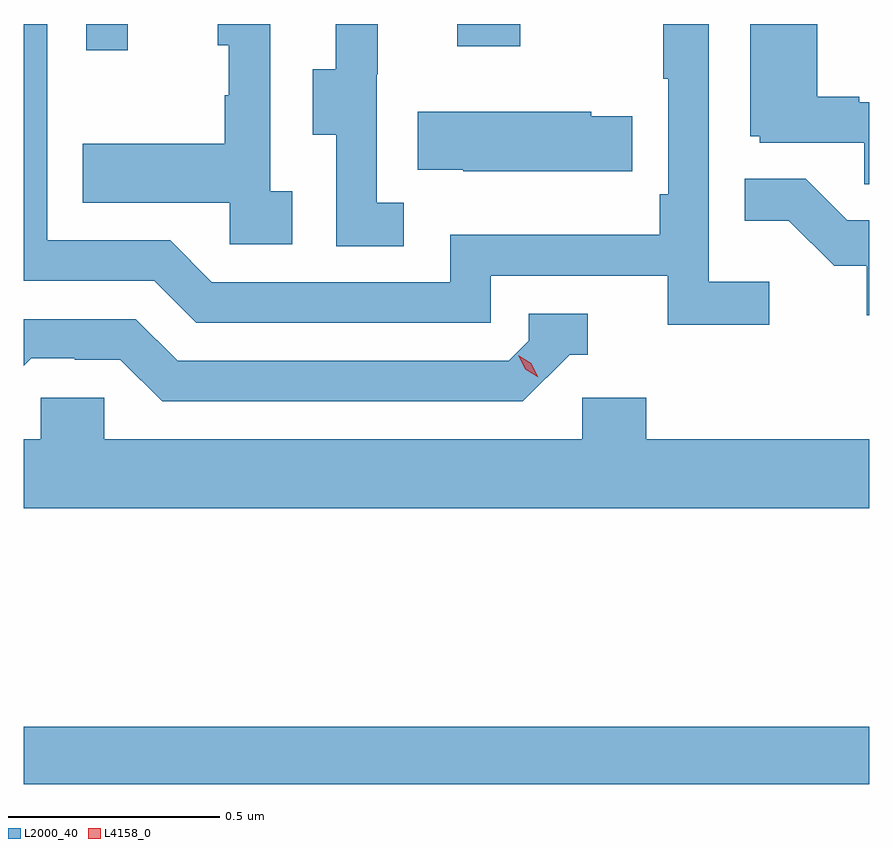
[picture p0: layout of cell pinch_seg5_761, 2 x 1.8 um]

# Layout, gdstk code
import gdstk
lib = gdstk.Library(unit=1e-6, precision=1e-09)
def R(c, l, rs):  # rectangles x0, y0, x1, y1
    for r in rs: c.add(gdstk.rectangle(r[:2], r[2:], *l))
def P(c, l, *ps):  # polygons
    for p in ps: c.add(gdstk.Polygon(p, *l))
L2000_40 = (2000, 40)
L4158_0 = (4158, 0)

pinch_seg5_761 = lib.new_cell('pinch_seg5_761')
R(pinch_seg5_761, L2000_40, [(855.155,894.736,857.155,894.872), (855.303,896.472,855.401,896.534), (856.181,896.481,856.329,896.534)])
P(pinch_seg5_761, L2000_40, [(857.155,896.349),(857.132,896.349),(857.132,896.362),(857.032,896.362),(857.032,896.534),(856.874,896.534),(856.874,896.268),(856.896,896.268),(856.896,896.253),(857.143,896.253),(857.143,896.155),(857.155,896.155)],
  [(856.054,896.111),(855.99,896.111),(855.99,896.415),(855.992,896.415),(855.992,896.534),(855.893,896.534),(855.893,896.427),(855.839,896.427),(855.839,896.272),(855.894,896.272),(855.894,896.008),(856.054,896.008)],
  [(855.79,896.138),(855.738,896.138),(855.738,896.534),(855.614,896.534),(855.614,896.484),(855.64,896.484),(855.64,896.366),(855.63,896.366),(855.63,896.251),(855.295,896.251),(855.295,896.111),(855.642,896.111),(855.642,896.013),(855.79,896.013)],
  [(856.918,895.924),(856.776,895.924),(856.776,896.534),(856.668,896.534),(856.668,896.404),(856.68,896.404),(856.68,896.131),(856.66,896.131),(856.66,896.035),(856.164,896.035),(856.164,895.923),(855.6,895.923),(855.501,896.022),(855.21,896.022),(855.21,896.534),(855.155,896.534),(855.155,895.926),(855.464,895.926),(855.563,895.827),(856.26,895.827),(856.26,895.938),(856.679,895.938),(856.679,895.822),(856.918,895.822)],
  [(856.595,896.316),(856.497,896.316),(856.497,896.326),(856.087,896.326),(856.087,896.189),(856.195,896.189),(856.195,896.186),(856.595,896.186)],
  [(857.155,896.07),(857.103,896.07),(857.005,896.168),(856.861,896.168),(856.861,896.069),(856.965,896.069),(857.072,895.962),(857.149,895.962),(857.149,895.845),(857.155,895.845)],
  [(856.446,895.752),(856.489,895.752),(856.489,895.848),(856.35,895.848),(856.35,895.785),(856.302,895.737),(855.519,895.737),(855.42,895.836),(855.155,895.836),(855.155,895.725),(855.173,895.743),(855.276,895.743),(855.276,895.74),(855.383,895.74),(855.482,895.641),(856.335,895.641)],
  [(857.155,895.552),(856.628,895.552),(856.628,895.65),(856.476,895.65),(856.476,895.552),(855.345,895.552),(855.345,895.65),(855.195,895.65),(855.195,895.552),(855.155,895.552),(855.155,895.388),(857.155,895.388)])
P(pinch_seg5_761, L4158_0, [(856.372,895.698),(856.341,895.717),(856.325,895.75),(856.325,895.75),(856.325,895.75),(856.356,895.731),(856.372,895.698),(856.372,895.698)])

lib.write_gds('pinch_seg5_761.gds')
